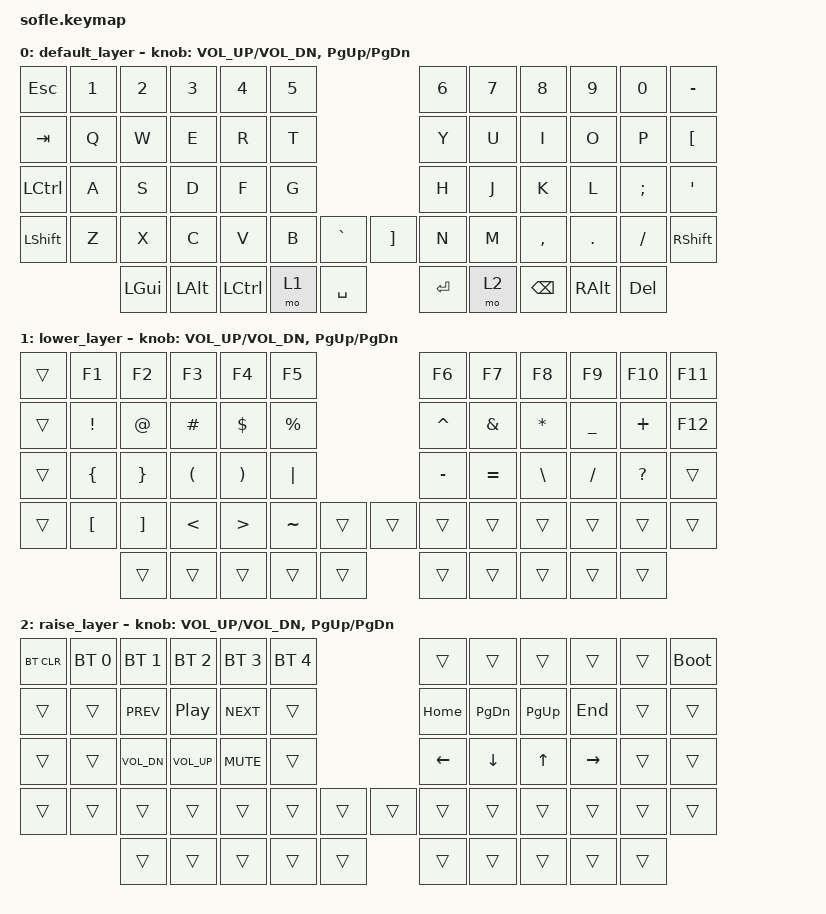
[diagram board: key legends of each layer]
/*
 * Copyright (c) 2020 The ZMK Contributors
 *
 * SPDX-License-Identifier: MIT
 */

#include <behaviors.dtsi>
#include <dt-bindings/zmk/keys.h>
#include <dt-bindings/zmk/bt.h>

/ {
    keymap {
        compatible = "zmk,keymap";

        default_layer {
// ------------------------------------------------------------------------------------------------------------
// |  ESC  |  1  |  2  |  3   |  4   |  5   |                   |  6   |  7    |  8    |  9   |   0   |   -   |
// |  TAB  |  Q  |  W  |  E   |  R   |  T   |                   |  Y   |  U    |  I    |  O   |   P   | [ (Х) |
// | LCTRL |  A  |  S  |  D   |  F   |  G   |                   |  H   |  J    |  K    |  L   | ; (Ж) | ' (Э) |
// | LSHFT |  Z  |  X  |  C   |  V   |  B   | ` (Ё)  | | ] (Ъ)  |  N   |  M    | , (Б) | . (Ю) | / (?) | RSHFT |
//               | GUI | ALT  | CTRL | LOWER| SPACE  | | ENTER  | RAISE| BKSPC | RALT  | DEL  |
            bindings = <
&kp ESC   &kp N1 &kp N2 &kp N3 &kp N4 &kp N5                      &kp N6 &kp N7   &kp N8    &kp N9  &kp N0   &kp MINUS
&kp TAB   &kp Q  &kp W  &kp E  &kp R  &kp T                       &kp Y  &kp U    &kp I     &kp O   &kp P    &kp LBKT
&kp LCTRL &kp A  &kp S  &kp D  &kp F  &kp G                       &kp H  &kp J    &kp K     &kp L   &kp SEMI &kp SQT
&kp LSHFT &kp Z  &kp X  &kp C  &kp V  &kp B  &kp GRAVE  &kp RBKT  &kp N  &kp M    &kp COMMA &kp DOT &kp FSLH &kp RSHFT
                 &kp LGUI &kp LALT &kp LCTRL &mo 1      &kp SPACE &kp RET  &mo 2  &kp BSPC  &kp RALT &kp DEL
            >;

            sensor-bindings = <&inc_dec_kp C_VOL_UP C_VOL_DN &inc_dec_kp PG_UP PG_DN>;
        };

        lower_layer {
// ------------------------------------------------------------------------------------------------------------
// СИМВОЛЫ: Идеальный слой для C++/Rust. Все скобки под левой рукой, операторы под правой.
// |       |  F1 |  F2 |  F3  |  F4  |  F5  |                   |  F6  |  F7   |  F8   |  F9  |  F10  |  F11  |
// |       |  !  |  @  |  #   |  $   |  %   |                   |  ^   |  &    |  *    |  _   |   +   |  F12  |
// |       |  {  |  }  |  (   |  )   |  |   |                   |  -   |  =    |  \    |  /   |   ?   |       |
// |       |  [  |  ]  |  <   |  >   |  ~   |        | |        |      |       |       |      |       |       |
//               |     |      |      |      |        | |        |      |       |       |      |
            bindings = <
&trans    &kp F1   &kp F2   &kp F3   &kp F4   &kp F5                     &kp F6    &kp F7    &kp F8    &kp F9    &kp F10   &kp F11
&trans    &kp EXCL &kp AT   &kp HASH &kp DLLR &kp PRCNT                  &kp CARET &kp AMPS  &kp STAR  &kp UNDER &kp PLUS  &kp F12
&trans    &kp LBRC &kp RBRC &kp LPAR &kp RPAR &kp PIPE                   &kp MINUS &kp EQUAL &kp BSLH  &kp FSLH  &kp QMARK &trans
&trans    &kp LBKT &kp RBKT &kp LT   &kp GT   &kp TILDE  &trans   &trans &trans    &trans    &trans    &trans    &trans    &trans
                   &trans   &trans   &trans   &trans     &trans   &trans &trans    &trans    &trans    &trans
            >;

            sensor-bindings = <&inc_dec_kp C_VOL_UP C_VOL_DN &inc_dec_kp PG_UP PG_DN>;
        };

        raise_layer {
// ------------------------------------------------------------------------------------------------------------
// НАВИГАЦИЯ: Слева медиа, справа стрелки (HJKL) и управление текстом.
// | BTCLR | BT1 | BT2 | BT3  | BT4  | BT5  |                   |      |       |       |      |       | BLOAD |
// |       |     | Prev| Play | Next |      |                   | Home | PgDn  | PgUp  | End  |       |       |
// |       |     | Vol-| Vol+ | Mute |      |                   |  <-  |   v   |   ^   |  ->  |       |       |
// |       |     |     |      |      |      |        | |        |      |       |       |      |       |       |
//               |     |      |      |      |        | |        |      |       |       |      |
            bindings = <
&bt BT_CLR &bt BT_SEL 0 &bt BT_SEL 1 &bt BT_SEL 2 &bt BT_SEL 3 &bt BT_SEL 4             &trans   &trans    &trans    &trans  &trans &bootloader
&trans     &trans       &kp C_PREV   &kp C_PP     &kp C_NEXT   &trans                   &kp HOME &kp PG_DN &kp PG_UP &kp END &trans &trans
&trans     &trans       &kp C_VOL_DN &kp C_VOL_UP &kp C_MUTE   &trans                   &kp LEFT &kp DOWN  &kp UP    &kp RIGHT &trans &trans
&trans     &trans       &trans       &trans       &trans       &trans     &trans &trans &trans   &trans    &trans    &trans  &trans &trans
                        &trans       &trans       &trans       &trans     &trans &trans &trans   &trans    &trans    &trans
            >;

            sensor-bindings = <&inc_dec_kp C_VOL_UP C_VOL_DN &inc_dec_kp PG_UP PG_DN>;
        };
    };
};
